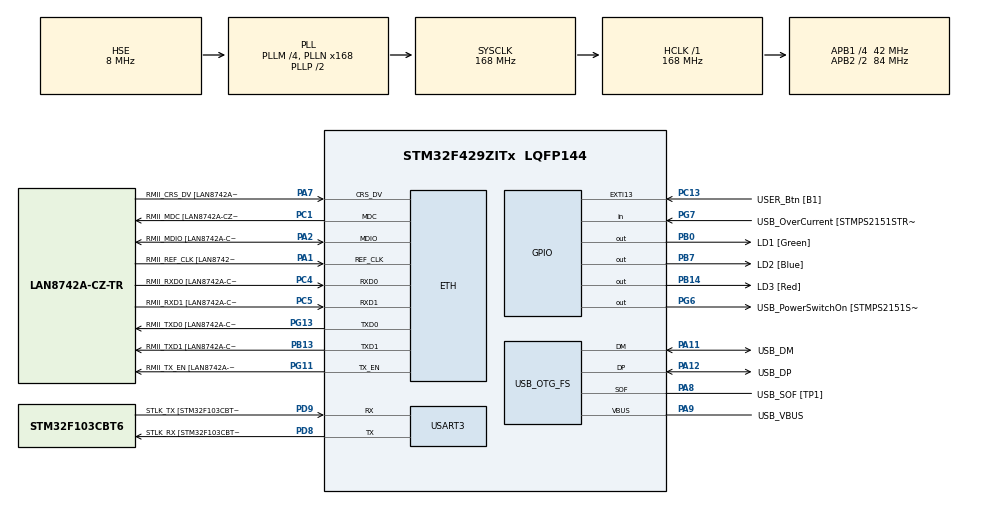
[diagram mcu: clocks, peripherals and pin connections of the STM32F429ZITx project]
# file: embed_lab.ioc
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ETH.MACAddr=00\:80\:E1\:21\:37\:14
ETH.MediaInterface=ETH_MEDIA_INTERFACE_RMII
ETH.PHY_Name=LAN8742A_PHY_ADDRESS
ETH.PHY_Value=0
ETH.PhyAddress=0
FREERTOS.Tasks01=defaultTask,24,1024,StartDefaultTask,Default,NULL,Dynamic,NULL,NULL
FREERTOS.configTOTAL_HEAP_SIZE=32768
LWIP.LWIP_DNS=1
LWIP.Version=v2.0.3_Cube
Mcu.Family=STM32F4
Mcu.Name=STM32F429ZITx
Mcu.Package=LQFP144
NVIC.ETH_IRQn=true\:5\:0\:false\:false\:true\:true\:false\:true
NVIC.EXTI15_10_IRQn=true\:5\:0\:false\:false\:true\:true\:true\:true
NVIC.PriorityGroup=NVIC_PRIORITYGROUP_4
NVIC.RTC_Alarm_IRQn=true\:5\:0\:false\:false\:true\:true\:true\:true
NVIC.TIM6_DAC_IRQn=true\:0\:0\:false\:false\:true\:false\:false\:true
NVIC.TimeBase=TIM6_DAC_IRQn
NVIC.TimeBaseIP=TIM6
PA1.GPIO_Label=RMII_REF_CLK [LAN8742A-CZ-TR_REFCLK0]
PA1.Mode=RMII
PA1.Signal=ETH_REF_CLK
PA10.GPIO_Label=USB_ID
PA10.Signal=USB_OTG_FS_ID
PA11.GPIO_Label=USB_DM
PA11.Mode=Device_Only
PA11.Signal=USB_OTG_FS_DM
PA12.GPIO_Label=USB_DP
PA12.Mode=Device_Only
PA12.Signal=USB_OTG_FS_DP
PA13.GPIO_Label=TMS
PA13.Mode=Serial_Wire
PA13.Signal=SYS_JTMS-SWDIO
PA14.GPIO_Label=TCK
PA14.Mode=Serial_Wire
PA14.Signal=SYS_JTCK-SWCLK
PA2.GPIO_Label=RMII_MDIO [LAN8742A-CZ-TR_MDIO]
PA2.Mode=RMII
PA2.Signal=ETH_MDIO
PA7.GPIO_Label=RMII_CRS_DV [LAN8742A-CZ-TR_CRS_DV]
PA7.Mode=RMII
PA7.Signal=ETH_CRS_DV
PA8.GPIO_Label=USB_SOF [TP1]
PA8.Mode=Activate_SOF_FS
PA8.Signal=USB_OTG_FS_SOF
PA9.GPIO_Label=USB_VBUS
PA9.Mode=Activate_VBUS
PA9.Signal=USB_OTG_FS_VBUS
PB0.GPIO_Label=LD1 [Green]
PB0.Signal=GPIO_Output
PB13.GPIO_Label=RMII_TXD1 [LAN8742A-CZ-TR_TXD1]
PB13.Mode=RMII
PB13.Signal=ETH_TXD1
PB14.GPIO_Label=LD3 [Red]
PB14.Signal=GPIO_Output
PB7.GPIO_Label=LD2 [Blue]
PB7.Signal=GPIO_Output
PC1.GPIO_Label=RMII_MDC [LAN8742A-CZ-TR_MDC]
PC1.Mode=RMII
PC1.Signal=ETH_MDC
PC13.GPIO_Label=USER_Btn [B1]
PC13.GPIO_PuPd=GPIO_NOPULL
PC13.Signal=GPXTI13
PC14/OSC32_IN.Mode=LSE-External-Oscillator
PC14/OSC32_IN.Signal=RCC_OSC32_IN
PC15/OSC32_OUT.Mode=LSE-External-Oscillator
PC15/OSC32_OUT.Signal=RCC_OSC32_OUT
PC4.GPIO_Label=RMII_RXD0 [LAN8742A-CZ-TR_RXD0]
PC4.Mode=RMII
PC4.Signal=ETH_RXD0
PC5.GPIO_Label=RMII_RXD1 [LAN8742A-CZ-TR_RXD1]
PC5.Mode=RMII
PC5.Signal=ETH_RXD1
PD8.GPIO_Label=STLK_RX [STM32F103CBT6_PA3]
PD8.Mode=Asynchronous
PD8.Signal=USART3_TX
PD9.GPIO_Label=STLK_TX [STM32F103CBT6_PA2]
PD9.Mode=Asynchronous
PD9.Signal=USART3_RX
PG11.GPIO_Label=RMII_TX_EN [LAN8742A-CZ-TR_TXEN]
PG11.Mode=RMII
PG11.Signal=ETH_TX_EN
PG13.GPIO_Label=RMII_TXD0 [LAN8742A-CZ-TR_TXD0]
PG13.Mode=RMII
PG13.Signal=ETH_TXD0
PG6.GPIO_Label=USB_PowerSwitchOn [STMPS2151STR_EN]
PG6.Signal=GPIO_Output
PG7.GPIO_Label=USB_OverCurrent [STMPS2151STR_FAULT]
PG7.Signal=GPIO_Input
PH0/OSC_IN.GPIO_Label=MCO [STM32F103CBT6_PA8]
PH0/OSC_IN.Mode=HSE-External-Clock-Source
PH0/OSC_IN.Signal=RCC_OSC_IN
PH1/OSC_OUT.Mode=HSE-External-Clock-Source
PH1/OSC_OUT.Signal=RCC_OSC_OUT
ProjectManager.HeapSize=0x200
ProjectManager.StackSize=0x400
ProjectManager.TargetToolchain=Makefile
RCC.48MHZClocksFreq_Value=48000000
RCC.AHBFreq_Value=168000000
RCC.APB1CLKDivider=RCC_HCLK_DIV4
RCC.APB1Freq_Value=42000000
RCC.APB1TimFreq_Value=84000000
RCC.APB2CLKDivider=RCC_HCLK_DIV2
RCC.APB2Freq_Value=84000000
RCC.APB2TimCLKDivider=2
RCC.APB2TimFreq_Value=168000000
RCC.CortexFreq_Value=168000000
RCC.HCLKFreq_Value=168000000
RCC.HSE_VALUE=8000000
RCC.HSI_VALUE=16000000
RCC.PLLM=4
RCC.PLLMUL=RCC_PLL_MUL9
RCC.PLLN=168
RCC.PLLQ=7
RCC.PRESCALERUSB=RCC_USBCLKSOURCE_PLL_DIV1_5
RCC.SYSCLKFreq_VALUE=168000000
RCC.SYSCLKSource=RCC_SYSCLKSOURCE_PLLCLK
RCC.SYSCLKSourceVirtual=RCC_SYSCLKSOURCE_PLLCLK
RCC.USBFreq_Value=48000000
RCC.VCOOutputFreq_Value=336000000
RTC.Alarm=RTC_ALARM_A
RTC.AlarmMaskDateWeekDay=RTC_ALARMMASK_DATEWEEKDAY
RTC.AlarmMaskHours=RTC_ALARMMASK_HOURS
RTC.AlarmMaskMinutes=RTC_ALARMMASK_MINUTES
RTC.AlarmMaskSeconds=RTC_ALARMMASK_SECONDS
RTC.Format=RTC_FORMAT_BIN
USART3.VirtualMode=VM_ASYNC
USB_OTG_FS.VirtualMode=Device_Only
VP_FREERTOS_VS_CMSIS_V2.Mode=CMSIS_V2
VP_LWIP_VS_Enabled.Mode=Enabled
VP_RTC_VS_RTC_Activate.Mode=RTC_Enabled
VP_RTC_VS_RTC_Alarm_A_Intern.Mode=Alarm A
VP_RTC_VS_RTC_Calendar.Mode=RTC_Calendar
VP_SYS_VS_tim6.Mode=TIM6
board=NUCLEO-F429ZI

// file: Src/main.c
/* USER CODE BEGIN Header */
/**
  ******************************************************************************
  * @file           : main.c
  * @brief          : Main program body
  ******************************************************************************
  * @attention
  *
  * <h2><center>&copy; Copyright (c) 2019 STMicroelectronics.
  * All rights reserved.</center></h2>
  *
  * This software component is licensed by ST under Ultimate Liberty license
  * SLA0044, the "License"; You may not use this file except in compliance with
  * the License. You may obtain a copy of the License at:
  *                             www.st.com/SLA0044
  *
  ******************************************************************************
  */
/* USER CODE END Header */

#include "main.h"
#include "cmsis_os.h"
#include "lwip.h"

/* USER CODE BEGIN Includes */
#include "task.h"

#include "signaling_diode.h"
#include "sync.h"

/* USER CODE END Includes */

RTC_HandleTypeDef hrtc;

UART_HandleTypeDef huart3;

PCD_HandleTypeDef hpcd_USB_OTG_FS;

osThreadId_t defaultTaskHandle;

void SystemClock_Config(void);
static void MX_GPIO_Init(void);
static void MX_USART3_UART_Init(void);
static void MX_USB_OTG_FS_PCD_Init(void);
static void MX_RTC_Init(void);
void StartDefaultTask(void *argument);

/* USER CODE BEGIN 0 */
extern struct netif gnetif;
/* USER CODE END 0 */

int main(void)
{

  /* MCU Configuration--------------------------------------------------------*/

  /* Reset of all peripherals, Initializes the Flash interface and the Systick. */
  HAL_Init();

  /* Configure the system clock */
  SystemClock_Config();

  /* Initialize all configured peripherals */
  MX_GPIO_Init();
  MX_USART3_UART_Init();
  MX_USB_OTG_FS_PCD_Init();
  MX_RTC_Init();

  osKernelInitialize();

  /* USER CODE BEGIN RTOS_SEMAPHORES */
  connectionEnableSemaphore = xSemaphoreCreateBinary();
  syncSemaphore = xSemaphoreCreateBinary();
  /* add semaphores, ... */
  /* USER CODE END RTOS_SEMAPHORES */

  /* Create the thread(s) */
  /* definition and creation of defaultTask */
  const osThreadAttr_t defaultTask_attributes = {
    .name = "defaultTask",
    .priority = (osPriority_t) osPriorityNormal,
    .stack_size = 1024
  };
  defaultTaskHandle = osThreadNew(StartDefaultTask, NULL, &defaultTask_attributes);

  /* USER CODE BEGIN RTOS_THREADS */
  TaskHandle_t sdTask = NULL;
  BaseType_t sdTaskCreationResult = xTaskCreate(
      SD_TaskFunc,
      SD_TASK,
      1024,
      NULL,
      1,
      &sdTask
  );

  TaskHandle_t syncTask = NULL;
  BaseType_t syncTaskCreationResult = xTaskCreate(
      SY_TaskFunc,
      SY_TASK,
      4096,
      NULL,
      2,
      &syncTask
  );

  printf("hellothere\r\n");
  /* USER CODE END RTOS_THREADS */

  /* Start scheduler */
  osKernelStart();

  /* We should never get here as control is now taken by the scheduler */

  /* Infinite loop */
  while (1)
  {

  }
}

void SystemClock_Config(void)
{
  RCC_OscInitTypeDef RCC_OscInitStruct = {0};
  RCC_ClkInitTypeDef RCC_ClkInitStruct = {0};
  RCC_PeriphCLKInitTypeDef PeriphClkInitStruct = {0};

  /** Configure the main internal regulator output voltage
  */
  __HAL_RCC_PWR_CLK_ENABLE();
  __HAL_PWR_VOLTAGESCALING_CONFIG(PWR_REGULATOR_VOLTAGE_SCALE1);
  /** Initializes the CPU, AHB and APB busses clocks
  */
  RCC_OscInitStruct.OscillatorType = RCC_OSCILLATORTYPE_LSI|RCC_OSCILLATORTYPE_HSE;
  RCC_OscInitStruct.HSEState = RCC_HSE_BYPASS;
  RCC_OscInitStruct.LSIState = RCC_LSI_ON;
  RCC_OscInitStruct.PLL.PLLState = RCC_PLL_ON;
  RCC_OscInitStruct.PLL.PLLSource = RCC_PLLSOURCE_HSE;
  RCC_OscInitStruct.PLL.PLLM = 4;
  RCC_OscInitStruct.PLL.PLLN = 168;
  RCC_OscInitStruct.PLL.PLLP = RCC_PLLP_DIV2;
  RCC_OscInitStruct.PLL.PLLQ = 7;
  if (HAL_RCC_OscConfig(&RCC_OscInitStruct) != HAL_OK)
  {
    Error_Handler();
  }
  /** Initializes the CPU, AHB and APB busses clocks
  */
  RCC_ClkInitStruct.ClockType = RCC_CLOCKTYPE_HCLK|RCC_CLOCKTYPE_SYSCLK
                              |RCC_CLOCKTYPE_PCLK1|RCC_CLOCKTYPE_PCLK2;
  RCC_ClkInitStruct.SYSCLKSource = RCC_SYSCLKSOURCE_PLLCLK;
  RCC_ClkInitStruct.AHBCLKDivider = RCC_SYSCLK_DIV1;
  RCC_ClkInitStruct.APB1CLKDivider = RCC_HCLK_DIV4;
  RCC_ClkInitStruct.APB2CLKDivider = RCC_HCLK_DIV2;

  if (HAL_RCC_ClockConfig(&RCC_ClkInitStruct, FLASH_LATENCY_5) != HAL_OK)
  {
    Error_Handler();
  }
  PeriphClkInitStruct.PeriphClockSelection = RCC_PERIPHCLK_RTC;
  PeriphClkInitStruct.RTCClockSelection = RCC_RTCCLKSOURCE_LSI;
  if (HAL_RCCEx_PeriphCLKConfig(&PeriphClkInitStruct) != HAL_OK)
  {
    Error_Handler();
  }
}

static void MX_RTC_Init(void)
{

  RTC_TimeTypeDef sTime = {0};
  RTC_DateTypeDef sDate = {0};
  RTC_AlarmTypeDef sAlarm = {0};

  /** Initialize RTC Only
  */
  hrtc.Instance = RTC;
  hrtc.Init.HourFormat = RTC_HOURFORMAT_24;
  hrtc.Init.AsynchPrediv = 127;
  hrtc.Init.SynchPrediv = 255;
  hrtc.Init.OutPut = RTC_OUTPUT_DISABLE;
  hrtc.Init.OutPutPolarity = RTC_OUTPUT_POLARITY_HIGH;
  hrtc.Init.OutPutType = RTC_OUTPUT_TYPE_OPENDRAIN;
  if (HAL_RTC_Init(&hrtc) != HAL_OK)
  {
    Error_Handler();
  }

  /** Initialize RTC and set the Time and Date
  */
  sTime.Hours = 0;
  sTime.Minutes = 0;
  sTime.Seconds = 0;
  sTime.DayLightSaving = RTC_DAYLIGHTSAVING_NONE;
  sTime.StoreOperation = RTC_STOREOPERATION_RESET;
  if (HAL_RTC_SetTime(&hrtc, &sTime, RTC_FORMAT_BIN) != HAL_OK)
  {
    Error_Handler();
  }
  sDate.WeekDay = RTC_WEEKDAY_MONDAY;
  sDate.Month = RTC_MONTH_JANUARY;
  sDate.Date = 1;
  sDate.Year = 0;

  if (HAL_RTC_SetDate(&hrtc, &sDate, RTC_FORMAT_BIN) != HAL_OK)
  {
    Error_Handler();
  }
  /** Enable the Alarm A
  */
  sAlarm.AlarmTime.Hours = 0;
  sAlarm.AlarmTime.Minutes = 0;
  sAlarm.AlarmTime.Seconds = 0;
  sAlarm.AlarmTime.SubSeconds = 0;
  sAlarm.AlarmTime.DayLightSaving = RTC_DAYLIGHTSAVING_NONE;
  sAlarm.AlarmTime.StoreOperation = RTC_STOREOPERATION_RESET;
  sAlarm.AlarmMask = RTC_ALARMMASK_ALL;
  sAlarm.AlarmSubSecondMask = RTC_ALARMSUBSECONDMASK_ALL;
  sAlarm.AlarmDateWeekDaySel = RTC_ALARMDATEWEEKDAYSEL_DATE;
  sAlarm.AlarmDateWeekDay = 1;
  sAlarm.Alarm = RTC_ALARM_A;
  if (HAL_RTC_SetAlarm_IT(&hrtc, &sAlarm, RTC_FORMAT_BIN) != HAL_OK)
  {
    Error_Handler();
  }

}

static void MX_USART3_UART_Init(void)
{

  huart3.Instance = USART3;
  huart3.Init.BaudRate = 115200;
  huart3.Init.WordLength = UART_WORDLENGTH_8B;
  huart3.Init.StopBits = UART_STOPBITS_1;
  huart3.Init.Parity = UART_PARITY_NONE;
  huart3.Init.Mode = UART_MODE_TX_RX;
  huart3.Init.HwFlowCtl = UART_HWCONTROL_NONE;
  huart3.Init.OverSampling = UART_OVERSAMPLING_16;
  if (HAL_UART_Init(&huart3) != HAL_OK)
  {
    Error_Handler();
  }

}

static void MX_USB_OTG_FS_PCD_Init(void)
{

  hpcd_USB_OTG_FS.Instance = USB_OTG_FS;
  hpcd_USB_OTG_FS.Init.dev_endpoints = 4;
  hpcd_USB_OTG_FS.Init.speed = PCD_SPEED_FULL;
  hpcd_USB_OTG_FS.Init.dma_enable = DISABLE;
  hpcd_USB_OTG_FS.Init.phy_itface = PCD_PHY_EMBEDDED;
  hpcd_USB_OTG_FS.Init.Sof_enable = ENABLE;
  hpcd_USB_OTG_FS.Init.low_power_enable = DISABLE;
  hpcd_USB_OTG_FS.Init.lpm_enable = DISABLE;
  hpcd_USB_OTG_FS.Init.vbus_sensing_enable = ENABLE;
  hpcd_USB_OTG_FS.Init.use_dedicated_ep1 = DISABLE;
  if (HAL_PCD_Init(&hpcd_USB_OTG_FS) != HAL_OK)
  {
    Error_Handler();
  }

}

static void MX_GPIO_Init(void)
{
  GPIO_InitTypeDef GPIO_InitStruct = {0};

  /* GPIO Ports Clock Enable */
  __HAL_RCC_GPIOC_CLK_ENABLE();
  __HAL_RCC_GPIOH_CLK_ENABLE();
  __HAL_RCC_GPIOA_CLK_ENABLE();
  __HAL_RCC_GPIOB_CLK_ENABLE();
  __HAL_RCC_GPIOD_CLK_ENABLE();
  __HAL_RCC_GPIOG_CLK_ENABLE();

  /*Configure GPIO pin Output Level */
  HAL_GPIO_WritePin(GPIOB, LD1_Pin|LD3_Pin|LD2_Pin, GPIO_PIN_RESET);

  /*Configure GPIO pin Output Level */
  HAL_GPIO_WritePin(USB_PowerSwitchOn_GPIO_Port, USB_PowerSwitchOn_Pin, GPIO_PIN_RESET);

  /*Configure GPIO pin : USER_Btn_Pin */
  GPIO_InitStruct.Pin = USER_Btn_Pin;
  GPIO_InitStruct.Mode = GPIO_MODE_IT_RISING;
  GPIO_InitStruct.Pull = GPIO_NOPULL;
  HAL_GPIO_Init(USER_Btn_GPIO_Port, &GPIO_InitStruct);

  /*Configure GPIO pins : LD1_Pin LD3_Pin LD2_Pin */
  GPIO_InitStruct.Pin = LD1_Pin|LD3_Pin|LD2_Pin;
  GPIO_InitStruct.Mode = GPIO_MODE_OUTPUT_PP;
  GPIO_InitStruct.Pull = GPIO_NOPULL;
  GPIO_InitStruct.Speed = GPIO_SPEED_FREQ_LOW;
  HAL_GPIO_Init(GPIOB, &GPIO_InitStruct);

  /*Configure GPIO pin : USB_PowerSwitchOn_Pin */
  GPIO_InitStruct.Pin = USB_PowerSwitchOn_Pin;
  GPIO_InitStruct.Mode = GPIO_MODE_OUTPUT_PP;
  GPIO_InitStruct.Pull = GPIO_NOPULL;
  GPIO_InitStruct.Speed = GPIO_SPEED_FREQ_LOW;
  HAL_GPIO_Init(USB_PowerSwitchOn_GPIO_Port, &GPIO_InitStruct);

  /*Configure GPIO pin : USB_OverCurrent_Pin */
  GPIO_InitStruct.Pin = USB_OverCurrent_Pin;
  GPIO_InitStruct.Mode = GPIO_MODE_INPUT;
  GPIO_InitStruct.Pull = GPIO_NOPULL;
  HAL_GPIO_Init(USB_OverCurrent_GPIO_Port, &GPIO_InitStruct);

  /* EXTI interrupt init*/
  HAL_NVIC_SetPriority(EXTI15_10_IRQn, 5, 0);
  HAL_NVIC_EnableIRQ(EXTI15_10_IRQn);

}

/* USER CODE BEGIN 4 */
static void print_chr(char chr)
{
  while(__HAL_UART_GET_FLAG(&huart3, UART_FLAG_TXE) == RESET) { ; }
  huart3.Instance->DR = (uint16_t)chr;
}

int _write(int file, char *ptr, int len) {
  int cntr = len;
  char *pTemp = (char*)ptr; while(cntr--)
          print_chr(*pTemp++);
      return len;
}
/* USER CODE END 4 */

void StartDefaultTask(void *argument)
{
  /* init code for LWIP */
  MX_LWIP_Init();
  /* USER CODE BEGIN 5 */
  printf("Obtaining address with DHCP...\r\n");

  struct dhcp *dhcp = netif_dhcp_data(&gnetif);
  do {
    vTaskDelay(250);
  } while (dhcp->state != 0x0A);

  xSemaphoreGive(connectionEnableSemaphore);
  /* Infinite loop */
  for(;;)
  {
    osDelay(5000);
  }
  /* USER CODE END 5 */
}

void HAL_TIM_PeriodElapsedCallback(TIM_HandleTypeDef *htim)
{
  if (htim->Instance == TIM6) {
    HAL_IncTick();
  }
}

void Error_Handler(void)
{
}

/************************ (C) COPYRIGHT STMicroelectronics *****END OF FILE****/
